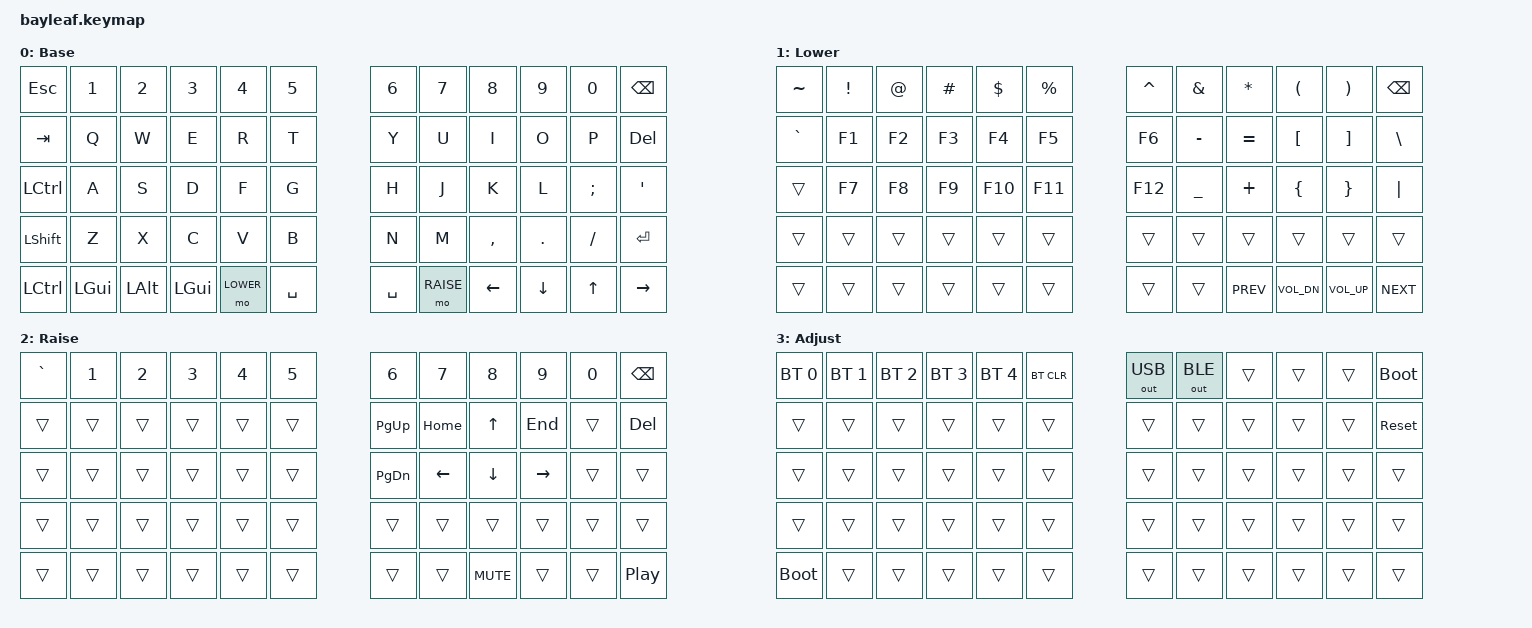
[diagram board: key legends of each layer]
/*
 * Bayleaf default keymap - 5x12 ortholinear, 4 layers.
 * SPDX-License-Identifier: MIT
 */

#include <behaviors.dtsi>
#include <dt-bindings/zmk/keys.h>
#include <dt-bindings/zmk/bt.h>
#include <dt-bindings/zmk/outputs.h>

#define BASE 0
#define LOWER 1
#define RAISE 2
#define ADJUST 3

/ {
    conditional_layers {
        compatible = "zmk,conditional-layers";
        tri_layer {
            if-layers = <LOWER RAISE>;
            then-layer = <ADJUST>;
        };
    };

    keymap {
        compatible = "zmk,keymap";

        base {
            display-name = "Base";
// |  ESC  |  1  |  2   |  3   |  4    |  5    |   |  6    |  7    |  8   |  9   |  0  | BSPC |
// |  TAB  |  Q  |  W   |  E   |  R    |  T    |   |  Y    |  U    |  I   |  O   |  P  | DEL  |
// | CTRL  |  A  |  S   |  D   |  F    |  G    |   |  H    |  J    |  K   |  L   |  ;  |  '   |
// | SHIFT |  Z  |  X   |  C   |  V    |  B    |   |  N    |  M    |  ,   |  .   |  /  | ENT  |
// | CTRL  | GUI | ALT  | GUI  | LOWER | SPACE |   | SPACE | RAISE | LEFT | DOWN | UP  | RIGHT|
            bindings = <
&kp ESC   &kp N1   &kp N2   &kp N3   &kp N4  &kp N5     &kp N6    &kp N7  &kp N8    &kp N9   &kp N0   &kp BSPC
&kp TAB   &kp Q    &kp W    &kp E    &kp R   &kp T      &kp Y     &kp U   &kp I     &kp O    &kp P    &kp DEL
&kp LCTRL &kp A    &kp S    &kp D    &kp F   &kp G      &kp H     &kp J   &kp K     &kp L    &kp SEMI &kp SQT
&kp LSHFT &kp Z    &kp X    &kp C    &kp V   &kp B      &kp N     &kp M   &kp COMMA &kp DOT  &kp FSLH &kp RET
&kp LCTRL &kp LGUI &kp LALT &kp LGUI &mo LOWER &kp SPACE &kp SPACE &mo RAISE &kp LEFT &kp DOWN &kp UP &kp RIGHT
            >;
        };

        lower {
            display-name = "Lower";
            bindings = <
&kp TILDE &kp EXCL &kp AT   &kp HASH &kp DLLR &kp PRCNT   &kp CARET &kp AMPS  &kp STAR  &kp LPAR &kp RPAR &kp BSPC
&kp GRAVE &kp F1   &kp F2   &kp F3   &kp F4   &kp F5      &kp F6    &kp MINUS &kp EQUAL &kp LBKT &kp RBKT &kp BSLH
&trans    &kp F7   &kp F8   &kp F9   &kp F10  &kp F11     &kp F12   &kp UNDER &kp PLUS  &kp LBRC &kp RBRC &kp PIPE
&trans    &trans   &trans   &trans   &trans   &trans      &trans    &trans    &trans    &trans   &trans   &trans
&trans    &trans   &trans   &trans   &trans   &trans      &trans    &trans    &kp C_PREV &kp C_VOL_DN &kp C_VOL_UP &kp C_NEXT
            >;
        };

        raise {
            display-name = "Raise";
            bindings = <
&kp GRAVE &kp N1   &kp N2   &kp N3   &kp N4   &kp N5      &kp N6    &kp N7    &kp N8    &kp N9   &kp N0   &kp BSPC
&trans    &trans   &trans   &trans   &trans   &trans      &kp PG_UP &kp HOME  &kp UP    &kp END  &trans   &kp DEL
&trans    &trans   &trans   &trans   &trans   &trans      &kp PG_DN &kp LEFT  &kp DOWN  &kp RIGHT &trans  &trans
&trans    &trans   &trans   &trans   &trans   &trans      &trans    &trans    &trans    &trans   &trans   &trans
&trans    &trans   &trans   &trans   &trans   &trans      &trans    &trans    &kp C_MUTE &trans  &trans   &kp C_PP
            >;
        };

        adjust {
            display-name = "Adjust";
            bindings = <
&bt BT_SEL 0 &bt BT_SEL 1 &bt BT_SEL 2 &bt BT_SEL 3 &bt BT_SEL 4 &bt BT_CLR   &out OUT_USB &out OUT_BLE &trans &trans &trans &bootloader
&trans    &trans   &trans   &trans   &trans   &trans      &trans    &trans    &trans    &trans   &trans   &sys_reset
&trans    &trans   &trans   &trans   &trans   &trans      &trans    &trans    &trans    &trans   &trans   &trans
&trans    &trans   &trans   &trans   &trans   &trans      &trans    &trans    &trans    &trans   &trans   &trans
&bootloader &trans &trans   &trans   &trans   &trans      &trans    &trans    &trans    &trans   &trans   &trans
            >;
        };
    };
};
